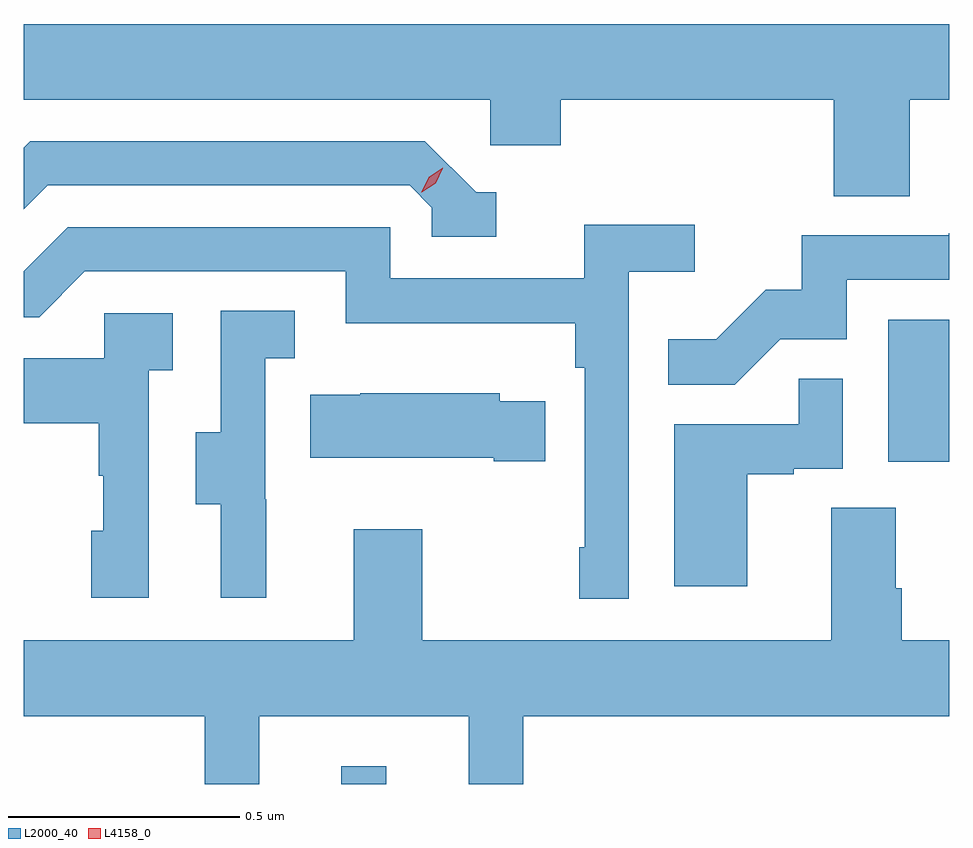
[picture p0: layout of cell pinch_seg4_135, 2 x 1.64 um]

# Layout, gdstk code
import gdstk
lib = gdstk.Library(unit=1e-6, precision=1e-09)
def R(c, l, rs):  # rectangles x0, y0, x1, y1
    for r in rs: c.add(gdstk.rectangle(r[:2], r[2:], *l))
def P(c, l, *ps):  # polygons
    for p in ps: c.add(gdstk.Polygon(p, *l))
L2000_40 = (2000, 40)
L4158_0 = (4158, 0)

pinch_seg4_135 = lib.new_cell('pinch_seg4_135')
R(pinch_seg4_135, L2000_40, [(1045.076,792.677,1045.173,792.715), (1046.258,793.374,1046.39,793.681)])
P(pinch_seg4_135, L2000_40, [(1046.305,794.156),(1046.39,794.156),(1046.39,794.32),(1044.39,794.32),(1044.39,794.156),(1045.398,794.156),(1045.398,794.058),(1045.55,794.058),(1045.55,794.156),(1046.141,794.156),(1046.141,793.948),(1046.305,793.948)],
  [(1045.411,793.956),(1045.368,793.956),(1045.257,794.067),(1044.404,794.067),(1044.39,794.053),(1044.39,793.92),(1044.441,793.971),(1045.224,793.971),(1045.272,793.923),(1045.272,793.86),(1045.411,793.86)],
  [(1045.698,793.784),(1045.84,793.784),(1045.84,793.886),(1045.601,793.886),(1045.601,793.77),(1045.182,793.77),(1045.182,793.881),(1044.485,793.881),(1044.39,793.786),(1044.39,793.686),(1044.423,793.686),(1044.522,793.785),(1045.086,793.785),(1045.086,793.673),(1045.582,793.673),(1045.582,793.577),(1045.602,793.577),(1045.602,793.189),(1045.59,793.189),(1045.59,793.077),(1045.698,793.077)],
  [(1046.025,793.638),(1046.169,793.638),(1046.169,793.767),(1046.39,793.767),(1046.39,793.868),(1046.389,793.868),(1046.389,793.863),(1046.071,793.863),(1046.071,793.746),(1045.994,793.746),(1045.887,793.639),(1045.783,793.639),(1045.783,793.54),(1045.927,793.54)],
  [(1044.914,793.293),(1044.912,793.293),(1044.912,793.597),(1044.976,793.597),(1044.976,793.7),(1044.816,793.7),(1044.816,793.437),(1044.761,793.437),(1044.761,793.282),(1044.815,793.282),(1044.815,793.08),(1044.914,793.08)],
  [(1044.66,793.571),(1044.712,793.571),(1044.712,793.695),(1044.564,793.695),(1044.564,793.597),(1044.39,793.597),(1044.39,793.457),(1044.552,793.457),(1044.552,793.343),(1044.562,793.343),(1044.562,793.224),(1044.536,793.224),(1044.536,793.08),(1044.66,793.08)],
  [(1045.954,793.347),(1046.054,793.347),(1046.054,793.359),(1046.16,793.359),(1046.16,793.553),(1046.065,793.553),(1046.065,793.455),(1045.796,793.455),(1045.796,793.104),(1045.954,793.104)],
  [(1045.517,793.504),(1045.419,793.504),(1045.419,793.522),(1045.117,793.522),(1045.117,793.519),(1045.009,793.519),(1045.009,793.382),(1045.406,793.382),(1045.406,793.375),(1045.517,793.375)],
  [(1044.899,792.824),(1045.352,792.824),(1045.352,792.677),(1045.469,792.677),(1045.469,792.824),(1046.39,792.824),(1046.39,792.988),(1046.288,792.988),(1046.288,793.1),(1046.275,793.1),(1046.275,793.274),(1046.135,793.274),(1046.135,792.988),(1045.251,792.988),(1045.251,793.228),(1045.103,793.228),(1045.103,792.988),(1044.39,792.988),(1044.39,792.824),(1044.781,792.824),(1044.781,792.677),(1044.899,792.677)])
P(pinch_seg4_135, L4158_0, [(1045.249,793.956),(1045.249,793.956),(1045.265,793.989),(1045.295,794.009),(1045.295,794.009),(1045.295,794.008),(1045.28,793.976),(1045.25,793.956)])

lib.write_gds('pinch_seg4_135.gds')
